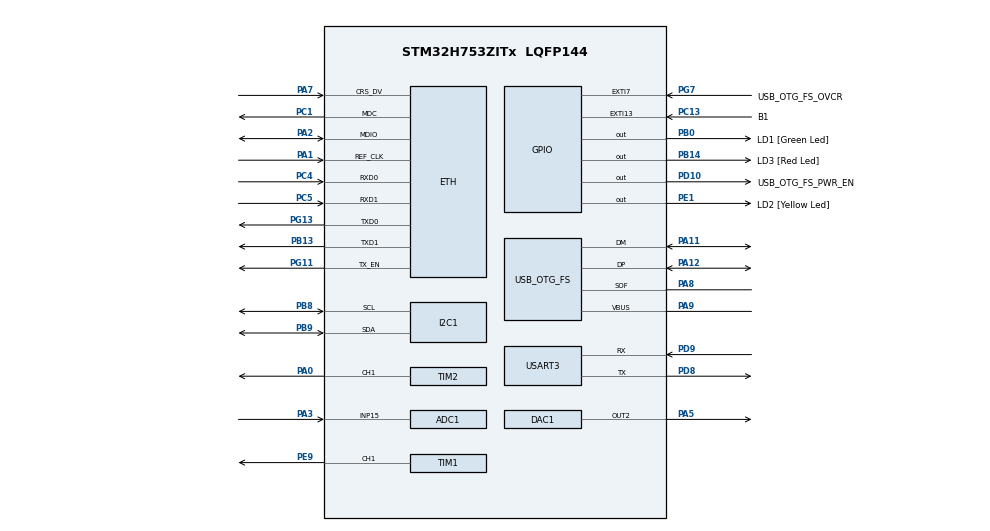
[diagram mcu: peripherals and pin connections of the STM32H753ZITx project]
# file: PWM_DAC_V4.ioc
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ADC1.Channel-0\#ChannelRegularConversion=ADC_CHANNEL_15
ADC1.ClockPrescaler=ADC_CLOCK_ASYNC_DIV128
ADC1.ContinuousConvMode=ENABLE
ADC1.NbrOfConversionFlag=1
ADC1.OffsetNumber-0\#ChannelRegularConversion=ADC_OFFSET_NONE
ADC1.OffsetSignedSaturation-0\#ChannelRegularConversion=DISABLE
ADC1.Rank-0\#ChannelRegularConversion=1
ADC1.Resolution=ADC_RESOLUTION_12B
ADC1.SamplingTime-0\#ChannelRegularConversion=ADC_SAMPLETIME_810CYCLES_5
ADC1.master=1
CORTEX_M7.CPU_DCache=Disabled
CORTEX_M7.CPU_ICache=Disabled
CORTEX_M7.MPU_Control=__NULL
DAC1.DAC_Channel-DAC_OUT2=DAC_CHANNEL_2
ETH.ETH_RX_DESC_CNT=4
ETH.ETH_TX_DESC_CNT=4
ETH.MACAddr=00\:80\:E1\:00\:00\:00
ETH.MediaInterface=HAL_ETH_RMII_MODE
ETH.RxBuffAddress=0x30040200
ETH.RxBuffLen=1524
ETH.RxDescAddress=0x30040000
ETH.TxDescAddress=0x30040060
I2C1.Timing=0x00303D5B
Mcu.Family=STM32H7
Mcu.Name=STM32H753ZITx
Mcu.Package=LQFP144
NVIC.ADC_IRQn=true\:0\:0\:false\:false\:true\:true\:true\:true
NVIC.EXTI15_10_IRQn=true\:0\:0\:false\:false\:true\:true\:true\:true
NVIC.PriorityGroup=NVIC_PRIORITYGROUP_4
NVIC.USART3_IRQn=true\:0\:0\:false\:false\:true\:true\:true\:true
PA0.Signal=S_TIM2_CH1_ETR
PA1.Mode=RMII
PA1.Signal=ETH_REF_CLK
PA11.Mode=Device_Only
PA11.Signal=USB_OTG_FS_DM
PA12.Mode=Device_Only
PA12.Signal=USB_OTG_FS_DP
PA2.Mode=RMII
PA2.Signal=ETH_MDIO
PA3.Signal=ADCx_INP15
PA5.Signal=COMP_DAC12_group
PA7.Mode=RMII
PA7.Signal=ETH_CRS_DV
PA8.Mode=Activate_SOF_FS
PA8.Signal=USB_OTG_FS_SOF
PA9.Mode=Activate_VBUS
PA9.Signal=USB_OTG_FS_VBUS
PB0.GPIO_Label=LD1 [Green Led]
PB0.Signal=GPIO_Output
PB13.Mode=RMII
PB13.Signal=ETH_TXD1
PB14.GPIO_Label=LD3 [Red Led]
PB14.Signal=GPIO_Output
PB8.GPIO_Pu=GPIO_PULLUP
PB8.GPIO_Speed=GPIO_SPEED_FREQ_VERY_HIGH
PB8.Mode=I2C
PB8.Signal=I2C1_SCL
PB9.GPIO_Pu=GPIO_PULLUP
PB9.GPIO_Speed=GPIO_SPEED_FREQ_VERY_HIGH
PB9.Mode=I2C
PB9.Signal=I2C1_SDA
PC1.Mode=RMII
PC1.Signal=ETH_MDC
PC13.GPIO_Label=B1
PC13.GPIO_ModeDefaultEXTI=GPIO_MODE_IT_FALLING
PC13.Signal=GPXTI13
PC14-OSC32_IN\ (OSC32_IN).Mode=LSE-External-Oscillator
PC14-OSC32_IN\ (OSC32_IN).Signal=RCC_OSC32_IN
PC15-OSC32_OUT\ (OSC32_OUT).Mode=LSE-External-Oscillator
PC15-OSC32_OUT\ (OSC32_OUT).Signal=RCC_OSC32_OUT
PC4.Mode=RMII
PC4.Signal=ETH_RXD0
PC5.Mode=RMII
PC5.Signal=ETH_RXD1
PD10.GPIO_Label=USB_OTG_FS_PWR_EN
PD10.Signal=GPIO_Output
PD8.Mode=Asynchronous
PD8.Signal=USART3_TX
PD9.Mode=Asynchronous
PD9.Signal=USART3_RX
PE1.GPIO_Label=LD2 [Yellow Led]
PE1.Signal=GPIO_Output
PE9.Signal=S_TIM1_CH1
PG11.Mode=RMII
PG11.Signal=ETH_TX_EN
PG13.Mode=RMII
PG13.Signal=ETH_TXD0
PG7.GPIO_Label=USB_OTG_FS_OVCR
PG7.Signal=GPXTI7
PH0-OSC_IN\ (PH0).Mode=HSE-External-Clock-Source
PH0-OSC_IN\ (PH0).Signal=RCC_OSC_IN
PH1-OSC_OUT\ (PH1).Signal=RCC_OSC_OUT
ProjectManager.HeapSize=0x200
ProjectManager.StackSize=0x400
ProjectManager.TargetToolchain=STM32CubeIDE
RCC.ADCFreq_Value=50000000
RCC.APB1Freq_Value=16000000
RCC.APB2Freq_Value=16000000
RCC.APB3Freq_Value=16000000
RCC.APB4Freq_Value=16000000
RCC.CortexFreq_Value=16000000
RCC.DIVM1=1
RCC.DIVM2=1
RCC.DIVN1=19
RCC.DIVN2=18
RCC.DIVP2=3
RCC.DIVQ1=3
RCC.HCLKFreq_Value=16000000
RCC.HSE_VALUE=8000000
RCC.HSIDiv=RCC_PLLSAIDIVR_4
RCC.PLL2FRACN=6144
RCC.PLLFRACN=0
RCC.PWR_Regulator_Voltage_Scale=PWR_REGULATOR_VOLTAGE_SCALE2
RCC.SYSCLKFreq_VALUE=16000000
RCC.USBFreq_Value=50666666.666666664
SH.ADCx_INP15.0=ADC1_INP15,IN15-Single-Ended
SH.COMP_DAC12_group.0=DAC1_OUT2,DAC_OUT2
SH.S_TIM1_CH1.0=TIM1_CH1,PWM Generation1 CH1
SH.S_TIM2_CH1_ETR.0=TIM2_CH1,PWM Generation1 CH1
TIM1.Channel-PWM\ Generation1\ CH1=TIM_CHANNEL_1
TIM1.Period=255
TIM2.Channel-PWM\ Generation1\ CH1=TIM_CHANNEL_1
TIM2.Period=255
USART3.VirtualMode-Asynchronous=VM_ASYNC
USB_OTG_FS.Sof_enable=ENABLE
USB_OTG_FS.VirtualMode=Device_Only
USB_OTG_FS.battery_charging_enable=ENABLE
USB_OTG_FS.low_power_enable=DISABLE
USB_OTG_FS.lpm_enable=DISABLE
USB_OTG_FS.use_dedicated_ep1=DISABLE
USB_OTG_FS.vbus_sensing_enable=ENABLE
VP_MEMORYMAP_VS_MEMORYMAP.Mode=CurAppReg
VP_TIM1_VS_ClockSourceINT.Mode=Internal
VP_TIM2_VS_ClockSourceINT.Mode=Internal
board=NUCLEO-H753ZI

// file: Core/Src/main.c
/* USER CODE BEGIN Header */
/**
  ******************************************************************************
  * @file           : main.c
  * @brief          : Main program body
  ******************************************************************************
  * @attention
  *
  * Copyright (c) 2024 STMicroelectronics.
  * All rights reserved.
  *
  * This software is licensed under terms that can be found in the LICENSE file
  * in the root directory of this software component.
  * If no LICENSE file comes with this software, it is provided AS-IS.
  *
  ******************************************************************************
  */
/* USER CODE END Header */
#include "main.h"
#include "string.h"

/* USER CODE BEGIN PD */
// PCF8591 I2C address (shifted for STM32 HAL)
#define PCF8591_ADDRESS 0x48 << 1
/* USER CODE END PD */

#if defined ( __ICCARM__ ) /*!< IAR Compiler */
#pragma location=0x30040000
ETH_DMADescTypeDef  DMARxDscrTab[ETH_RX_DESC_CNT]; /* Ethernet Rx DMA Descriptors */
#pragma location=0x30040060
ETH_DMADescTypeDef  DMATxDscrTab[ETH_TX_DESC_CNT]; /* Ethernet Tx DMA Descriptors */

#elif defined ( __CC_ARM )  /* MDK ARM Compiler */

__attribute__((at(0x30040000))) ETH_DMADescTypeDef  DMARxDscrTab[ETH_RX_DESC_CNT]; /* Ethernet Rx DMA Descriptors */
__attribute__((at(0x30040060))) ETH_DMADescTypeDef  DMATxDscrTab[ETH_TX_DESC_CNT]; /* Ethernet Tx DMA Descriptors */

#elif defined ( __GNUC__ ) /* GNU Compiler */

ETH_DMADescTypeDef DMARxDscrTab[ETH_RX_DESC_CNT] __attribute__((section(".RxDecripSection"))); /* Ethernet Rx DMA Descriptors */
ETH_DMADescTypeDef DMATxDscrTab[ETH_TX_DESC_CNT] __attribute__((section(".TxDecripSection")));   /* Ethernet Tx DMA Descriptors */
#endif

ETH_TxPacketConfig TxConfig;

ADC_HandleTypeDef hadc1;

DAC_HandleTypeDef hdac1;

ETH_HandleTypeDef heth;

I2C_HandleTypeDef hi2c1;

TIM_HandleTypeDef htim1;
TIM_HandleTypeDef htim2;

UART_HandleTypeDef huart3;

PCD_HandleTypeDef hpcd_USB_OTG_FS;

/* USER CODE BEGIN PV */
uint32_t value_adc;
uint32_t value_dac = 0;

volatile uint8_t conversion_complete = 0; //flag para sinalizar conversão completa do ADC

/* USER CODE END PV */

void SystemClock_Config(void);
static void MX_GPIO_Init(void);
static void MX_ETH_Init(void);
static void MX_I2C1_Init(void);
static void MX_USART3_UART_Init(void);
static void MX_USB_OTG_FS_PCD_Init(void);
static void MX_ADC1_Init(void);
static void MX_DAC1_Init(void);
static void MX_TIM2_Init(void);
static void MX_TIM1_Init(void);
/* USER CODE BEGIN PFP */

//Função de leitura no modulo sensor
uint8_t PCF8591_ReadAnalog(uint8_t channel);

/* USER CODE END PFP */

/* USER CODE BEGIN 0 */
int counter = 0;
char rx_buffer[9];
char execute_flag = '0';

uint8_t LDR = 0;
uint8_t POT = 0;
uint8_t TEMP = 0;
uint8_t dac_value = 0;
int currentExecution = 0;
/* USER CODE END 0 */

int main(void)
{

  /* MCU Configuration--------------------------------------------------------*/

  /* Reset of all peripherals, Initializes the Flash interface and the Systick. */
  HAL_Init();

  /* Configure the system clock */
  SystemClock_Config();

  /* Initialize all configured peripherals */
  MX_GPIO_Init();
  MX_ETH_Init();
  MX_I2C1_Init();
  MX_USART3_UART_Init();
  MX_USB_OTG_FS_PCD_Init();
  MX_ADC1_Init();
  MX_DAC1_Init();
  MX_TIM2_Init();
  MX_TIM1_Init();
  /* USER CODE BEGIN 2 */
    //Parametros ADC e DAC.
    //inicializa o DAC
    HAL_DAC_Start(&hdac1, DAC_CHANNEL_2);

   //parametros PWM/Timers
    HAL_UART_Receive_IT(&huart3, rx_buffer, sizeof(rx_buffer));

    HAL_TIM_PWM_Init(&htim1);
    //TIM1->CCR1 = 50;
    HAL_TIM_PWM_Start(&htim1, TIM_CHANNEL_1);   //pino PE9 - D6

    HAL_TIM_PWM_Init(&htim2);
      //TIM1->CCR1 = 50;
    HAL_TIM_PWM_Start(&htim2, TIM_CHANNEL_1); // pino PA0 - D32
  /* USER CODE END 2 */

  /* Infinite loop */
  while (1)
  {

    /* USER CODE BEGIN 3 */
	if (currentExecution == 0)
	{
		//escreve no sinal PWM o valor lido do potenciometro
		// um led deve ser conectado ao pino do timer 1 - pino D6/PE9
		// o brilho do led vai mudar em funcao do valor lido do potenciometro
		Read_Pot();	   HAL_Delay(10);
		__HAL_TIM_SET_COMPARE(&htim1, TIM_CHANNEL_1, POT);
		HAL_Delay(5);
	}

	if (currentExecution == 1)
	{
		Read_LDR();	   HAL_Delay(10);
		dac_value = (LDR);

		//Determinando a amplitude do DAC em funcao do valor do LDR normalizado.
		// DAC sera o PA5/D13
		HAL_DAC_SetValue(&hdac1, DAC_CHANNEL_2, DAC_ALIGN_8B_R, dac_value);
		HAL_Delay(1);

	}
	if (currentExecution == 2)
	{
		Read_Pot();	   HAL_Delay(10);
		__HAL_TIM_SET_COMPARE(&htim1, TIM_CHANNEL_1, POT);
		HAL_Delay(5);
		Read_LDR();	   HAL_Delay(10);
		dac_value = (LDR);

		//Determinando a amplitude do DAC em funcao do valor do LDR normalizado.
		// DAC sera o PA5/D13
		HAL_DAC_SetValue(&hdac1, DAC_CHANNEL_2, DAC_ALIGN_8B_R, dac_value);
		HAL_Delay(1);

	}
	else {
		// not implemented
	}

    }
  /* USER CODE END 3 */
}

/*
void ExecuteProgram()
{
	if(execute_flag == '1'){
		Read_LDR();
	}
	else if(execute_flag == '2'){
		Read_Temp();
	}
	else if(execute_flag == '3'){
		Read_Pot();
	}
	else if(execute_flag == '4'){
		Write_DAC();

	}

}
*/

void Read_LDR(){
	 // Read analog data from A0 (channel 0) of the PCF8591
		  LDR = PCF8591_ReadAnalog(0);
		  HAL_Delay(100); // Wait before next reading
		  char counterMessage[9];

		  snprintf(counterMessage, 8, "%s\r\n", " AIN0: ");
		  HAL_UART_Transmit_IT(&huart3, (uint8_t *)counterMessage, strlen(counterMessage));
		  HAL_Delay(100);

		  snprintf(counterMessage, 4, "%d\r\n", LDR);
		  HAL_UART_Transmit_IT(&huart3, (uint8_t *)counterMessage, strlen(counterMessage));
		  HAL_Delay(100);
		  execute_flag = '0';

}

void Read_Temp(){
	 // Read analog data from A1 (channel 1) of the PCF8591
		  TEMP = PCF8591_ReadAnalog(1);
		  HAL_Delay(100); // Wait before next reading
		  char counterMessage[9];

		  snprintf(counterMessage, 8, "%s\r\n", " AIN1: ");
		  HAL_UART_Transmit_IT(&huart3, (uint8_t *)counterMessage, strlen(counterMessage));
		  HAL_Delay(100);

		  snprintf(counterMessage, 4, "%d\r\n", TEMP);
  		  HAL_UART_Transmit_IT(&huart3, (uint8_t *)counterMessage, strlen(counterMessage));
  		  HAL_Delay(100);
  		  execute_flag = '0';

}

void Read_Pot(){
	      POT = PCF8591_ReadAnalog(3);		  // Process the analog_value or send it over UART/Display it
		  HAL_Delay(100); // Wait for 1 second before next reading
		  char counterMessage[9];

		  snprintf(counterMessage, 8, "%s\r\n", " AIN3: ");
		  HAL_UART_Transmit_IT(&huart3, (uint8_t *)counterMessage, strlen(counterMessage));
		  HAL_Delay(100);

		  snprintf(counterMessage, 4, "%d\r\n", POT);
   		  HAL_UART_Transmit_IT(&huart3, (uint8_t *)counterMessage, strlen(counterMessage));
     	  HAL_Delay(100);
   		  execute_flag = '0';
}

void SystemClock_Config(void)
{
  RCC_OscInitTypeDef RCC_OscInitStruct = {0};
  RCC_ClkInitTypeDef RCC_ClkInitStruct = {0};

  /** Supply configuration update enable
  */
  HAL_PWREx_ConfigSupply(PWR_LDO_SUPPLY);

  /** Configure the main internal regulator output voltage
  */
  __HAL_PWR_VOLTAGESCALING_CONFIG(PWR_REGULATOR_VOLTAGE_SCALE2);

  while(!__HAL_PWR_GET_FLAG(PWR_FLAG_VOSRDY)) {}

  /** Initializes the RCC Oscillators according to the specified parameters
  * in the RCC_OscInitTypeDef structure.
  */
  RCC_OscInitStruct.OscillatorType = RCC_OSCILLATORTYPE_HSI|RCC_OSCILLATORTYPE_HSE;
  RCC_OscInitStruct.HSEState = RCC_HSE_BYPASS;
  RCC_OscInitStruct.HSIState = RCC_HSI_DIV4;
  RCC_OscInitStruct.HSICalibrationValue = RCC_HSICALIBRATION_DEFAULT;
  RCC_OscInitStruct.PLL.PLLState = RCC_PLL_ON;
  RCC_OscInitStruct.PLL.PLLSource = RCC_PLLSOURCE_HSE;
  RCC_OscInitStruct.PLL.PLLM = 1;
  RCC_OscInitStruct.PLL.PLLN = 19;
  RCC_OscInitStruct.PLL.PLLP = 2;
  RCC_OscInitStruct.PLL.PLLQ = 3;
  RCC_OscInitStruct.PLL.PLLR = 2;
  RCC_OscInitStruct.PLL.PLLRGE = RCC_PLL1VCIRANGE_3;
  RCC_OscInitStruct.PLL.PLLVCOSEL = RCC_PLL1VCOMEDIUM;
  RCC_OscInitStruct.PLL.PLLFRACN = 0;
  if (HAL_RCC_OscConfig(&RCC_OscInitStruct) != HAL_OK)
  {
    Error_Handler();
  }

  /** Initializes the CPU, AHB and APB buses clocks
  */
  RCC_ClkInitStruct.ClockType = RCC_CLOCKTYPE_HCLK|RCC_CLOCKTYPE_SYSCLK
                              |RCC_CLOCKTYPE_PCLK1|RCC_CLOCKTYPE_PCLK2
                              |RCC_CLOCKTYPE_D3PCLK1|RCC_CLOCKTYPE_D1PCLK1;
  RCC_ClkInitStruct.SYSCLKSource = RCC_SYSCLKSOURCE_HSI;
  RCC_ClkInitStruct.SYSCLKDivider = RCC_SYSCLK_DIV1;
  RCC_ClkInitStruct.AHBCLKDivider = RCC_HCLK_DIV1;
  RCC_ClkInitStruct.APB3CLKDivider = RCC_APB3_DIV1;
  RCC_ClkInitStruct.APB1CLKDivider = RCC_APB1_DIV1;
  RCC_ClkInitStruct.APB2CLKDivider = RCC_APB2_DIV1;
  RCC_ClkInitStruct.APB4CLKDivider = RCC_APB4_DIV1;

  if (HAL_RCC_ClockConfig(&RCC_ClkInitStruct, FLASH_LATENCY_0) != HAL_OK)
  {
    Error_Handler();
  }
}

static void MX_ADC1_Init(void)
{

  ADC_MultiModeTypeDef multimode = {0};
  ADC_ChannelConfTypeDef sConfig = {0};

  /** Common config
  */
  hadc1.Instance = ADC1;
  hadc1.Init.ScanConvMode = ADC_SCAN_DISABLE;
  hadc1.Init.EOCSelection = ADC_EOC_SINGLE_CONV;
  hadc1.Init.LowPowerAutoWait = DISABLE;
  hadc1.Init.ContinuousConvMode = ENABLE;
  hadc1.Init.NbrOfConversion = 1;
  hadc1.Init.DiscontinuousConvMode = DISABLE;
  hadc1.Init.ExternalTrigConv = ADC_SOFTWARE_START;
  hadc1.Init.ExternalTrigConvEdge = ADC_EXTERNALTRIGCONVEDGE_NONE;
  hadc1.Init.ConversionDataManagement = ADC_CONVERSIONDATA_DR;
  hadc1.Init.Overrun = ADC_OVR_DATA_PRESERVED;
  hadc1.Init.LeftBitShift = ADC_LEFTBITSHIFT_NONE;
  hadc1.Init.OversamplingMode = DISABLE;
  hadc1.Init.Oversampling.Ratio = 1;
  if (HAL_ADC_Init(&hadc1) != HAL_OK)
  {
    Error_Handler();
  }
  hadc1.Init.ClockPrescaler = ADC_CLOCK_ASYNC_DIV128;
  hadc1.Init.Resolution = ADC_RESOLUTION_12B;
  if (HAL_ADC_Init(&hadc1) != HAL_OK)
  {
    Error_Handler();
  }

  /** Configure the ADC multi-mode
  */
  multimode.Mode = ADC_MODE_INDEPENDENT;
  if (HAL_ADCEx_MultiModeConfigChannel(&hadc1, &multimode) != HAL_OK)
  {
    Error_Handler();
  }

  /** Configure Regular Channel
  */
  sConfig.Channel = ADC_CHANNEL_15;
  sConfig.Rank = ADC_REGULAR_RANK_1;
  sConfig.SamplingTime = ADC_SAMPLETIME_810CYCLES_5;
  sConfig.SingleDiff = ADC_SINGLE_ENDED;
  sConfig.OffsetNumber = ADC_OFFSET_NONE;
  sConfig.Offset = 0;
  sConfig.OffsetSignedSaturation = DISABLE;
  if (HAL_ADC_ConfigChannel(&hadc1, &sConfig) != HAL_OK)
  {
    Error_Handler();
  }

}

static void MX_DAC1_Init(void)
{

  DAC_ChannelConfTypeDef sConfig = {0};

  /** DAC Initialization
  */
  hdac1.Instance = DAC1;
  if (HAL_DAC_Init(&hdac1) != HAL_OK)
  {
    Error_Handler();
  }

  /** DAC channel OUT2 config
  */
  sConfig.DAC_SampleAndHold = DAC_SAMPLEANDHOLD_DISABLE;
  sConfig.DAC_Trigger = DAC_TRIGGER_NONE;
  sConfig.DAC_OutputBuffer = DAC_OUTPUTBUFFER_ENABLE;
  sConfig.DAC_ConnectOnChipPeripheral = DAC_CHIPCONNECT_DISABLE;
  sConfig.DAC_UserTrimming = DAC_TRIMMING_FACTORY;
  if (HAL_DAC_ConfigChannel(&hdac1, &sConfig, DAC_CHANNEL_2) != HAL_OK)
  {
    Error_Handler();
  }

}

static void MX_ETH_Init(void)
{

   static uint8_t MACAddr[6];

  heth.Instance = ETH;
  MACAddr[0] = 0x00;
  MACAddr[1] = 0x80;
  MACAddr[2] = 0xE1;
  MACAddr[3] = 0x00;
  MACAddr[4] = 0x00;
  MACAddr[5] = 0x00;
  heth.Init.MACAddr = &MACAddr[0];
  heth.Init.MediaInterface = HAL_ETH_RMII_MODE;
  heth.Init.TxDesc = DMATxDscrTab;
  heth.Init.RxDesc = DMARxDscrTab;
  heth.Init.RxBuffLen = 1524;

  if (HAL_ETH_Init(&heth) != HAL_OK)
  {
    Error_Handler();
  }

  memset(&TxConfig, 0 , sizeof(ETH_TxPacketConfig));
  TxConfig.Attributes = ETH_TX_PACKETS_FEATURES_CSUM | ETH_TX_PACKETS_FEATURES_CRCPAD;
  TxConfig.ChecksumCtrl = ETH_CHECKSUM_IPHDR_PAYLOAD_INSERT_PHDR_CALC;
  TxConfig.CRCPadCtrl = ETH_CRC_PAD_INSERT;

}

static void MX_I2C1_Init(void)
{

  hi2c1.Instance = I2C1;
  hi2c1.Init.Timing = 0x00303D5B;
  hi2c1.Init.OwnAddress1 = 0;
  hi2c1.Init.AddressingMode = I2C_ADDRESSINGMODE_7BIT;
  hi2c1.Init.DualAddressMode = I2C_DUALADDRESS_DISABLE;
  hi2c1.Init.OwnAddress2 = 0;
  hi2c1.Init.OwnAddress2Masks = I2C_OA2_NOMASK;
  hi2c1.Init.GeneralCallMode = I2C_GENERALCALL_DISABLE;
  hi2c1.Init.NoStretchMode = I2C_NOSTRETCH_DISABLE;
  if (HAL_I2C_Init(&hi2c1) != HAL_OK)
  {
    Error_Handler();
  }

  /** Configure Analogue filter
  */
  if (HAL_I2CEx_ConfigAnalogFilter(&hi2c1, I2C_ANALOGFILTER_ENABLE) != HAL_OK)
  {
    Error_Handler();
  }

  /** Configure Digital filter
  */
  if (HAL_I2CEx_ConfigDigitalFilter(&hi2c1, 0) != HAL_OK)
  {
    Error_Handler();
  }

}

static void MX_TIM1_Init(void)
{

  TIM_ClockConfigTypeDef sClockSourceConfig = {0};
  TIM_MasterConfigTypeDef sMasterConfig = {0};
  TIM_OC_InitTypeDef sConfigOC = {0};
  TIM_BreakDeadTimeConfigTypeDef sBreakDeadTimeConfig = {0};

  htim1.Instance = TIM1;
  htim1.Init.Prescaler = 0;
  htim1.Init.CounterMode = TIM_COUNTERMODE_UP;
  htim1.Init.Period = 255;
  htim1.Init.ClockDivision = TIM_CLOCKDIVISION_DIV1;
  htim1.Init.RepetitionCounter = 0;
  htim1.Init.AutoReloadPreload = TIM_AUTORELOAD_PRELOAD_DISABLE;
  if (HAL_TIM_Base_Init(&htim1) != HAL_OK)
  {
    Error_Handler();
  }
  sClockSourceConfig.ClockSource = TIM_CLOCKSOURCE_INTERNAL;
  if (HAL_TIM_ConfigClockSource(&htim1, &sClockSourceConfig) != HAL_OK)
  {
    Error_Handler();
  }
  if (HAL_TIM_PWM_Init(&htim1) != HAL_OK)
  {
    Error_Handler();
  }
  sMasterConfig.MasterOutputTrigger = TIM_TRGO_RESET;
  sMasterConfig.MasterOutputTrigger2 = TIM_TRGO2_RESET;
  sMasterConfig.MasterSlaveMode = TIM_MASTERSLAVEMODE_DISABLE;
  if (HAL_TIMEx_MasterConfigSynchronization(&htim1, &sMasterConfig) != HAL_OK)
  {
    Error_Handler();
  }
  sConfigOC.OCMode = TIM_OCMODE_PWM1;
  sConfigOC.Pulse = 0;
  sConfigOC.OCPolarity = TIM_OCPOLARITY_HIGH;
  sConfigOC.OCNPolarity = TIM_OCNPOLARITY_HIGH;
  sConfigOC.OCFastMode = TIM_OCFAST_DISABLE;
  sConfigOC.OCIdleState = TIM_OCIDLESTATE_RESET;
  sConfigOC.OCNIdleState = TIM_OCNIDLESTATE_RESET;
  if (HAL_TIM_PWM_ConfigChannel(&htim1, &sConfigOC, TIM_CHANNEL_1) != HAL_OK)
  {
    Error_Handler();
  }
  sBreakDeadTimeConfig.OffStateRunMode = TIM_OSSR_DISABLE;
  sBreakDeadTimeConfig.OffStateIDLEMode = TIM_OSSI_DISABLE;
  sBreakDeadTimeConfig.LockLevel = TIM_LOCKLEVEL_OFF;
  sBreakDeadTimeConfig.DeadTime = 0;
  sBreakDeadTimeConfig.BreakState = TIM_BREAK_DISABLE;
  sBreakDeadTimeConfig.BreakPolarity = TIM_BREAKPOLARITY_HIGH;
  sBreakDeadTimeConfig.BreakFilter = 0;
  sBreakDeadTimeConfig.Break2State = TIM_BREAK2_DISABLE;
  sBreakDeadTimeConfig.Break2Polarity = TIM_BREAK2POLARITY_HIGH;
  sBreakDeadTimeConfig.Break2Filter = 0;
  sBreakDeadTimeConfig.AutomaticOutput = TIM_AUTOMATICOUTPUT_DISABLE;
  if (HAL_TIMEx_ConfigBreakDeadTime(&htim1, &sBreakDeadTimeConfig) != HAL_OK)
  {
    Error_Handler();
  }
  HAL_TIM_MspPostInit(&htim1);

}

static void MX_TIM2_Init(void)
{

  TIM_ClockConfigTypeDef sClockSourceConfig = {0};
  TIM_MasterConfigTypeDef sMasterConfig = {0};
  TIM_OC_InitTypeDef sConfigOC = {0};

  htim2.Instance = TIM2;
  htim2.Init.Prescaler = 0;
  htim2.Init.CounterMode = TIM_COUNTERMODE_UP;
  htim2.Init.Period = 255;
  htim2.Init.ClockDivision = TIM_CLOCKDIVISION_DIV1;
  htim2.Init.AutoReloadPreload = TIM_AUTORELOAD_PRELOAD_DISABLE;
  if (HAL_TIM_Base_Init(&htim2) != HAL_OK)
  {
    Error_Handler();
  }
  sClockSourceConfig.ClockSource = TIM_CLOCKSOURCE_INTERNAL;
  if (HAL_TIM_ConfigClockSource(&htim2, &sClockSourceConfig) != HAL_OK)
  {
    Error_Handler();
  }
  if (HAL_TIM_PWM_Init(&htim2) != HAL_OK)
  {
    Error_Handler();
  }
  sMasterConfig.MasterOutputTrigger = TIM_TRGO_RESET;
  sMasterConfig.MasterSlaveMode = TIM_MASTERSLAVEMODE_DISABLE;
  if (HAL_TIMEx_MasterConfigSynchronization(&htim2, &sMasterConfig) != HAL_OK)
  {
    Error_Handler();
  }
  sConfigOC.OCMode = TIM_OCMODE_PWM1;
  sConfigOC.Pulse = 0;
  sConfigOC.OCPolarity = TIM_OCPOLARITY_HIGH;
  sConfigOC.OCFastMode = TIM_OCFAST_DISABLE;
  if (HAL_TIM_PWM_ConfigChannel(&htim2, &sConfigOC, TIM_CHANNEL_1) != HAL_OK)
  {
    Error_Handler();
  }
  HAL_TIM_MspPostInit(&htim2);

}

static void MX_USART3_UART_Init(void)
{

  huart3.Instance = USART3;
  huart3.Init.BaudRate = 115200;
  huart3.Init.WordLength = UART_WORDLENGTH_8B;
  huart3.Init.StopBits = UART_STOPBITS_1;
  huart3.Init.Parity = UART_PARITY_NONE;
  huart3.Init.Mode = UART_MODE_TX_RX;
  huart3.Init.HwFlowCtl = UART_HWCONTROL_NONE;
  huart3.Init.OverSampling = UART_OVERSAMPLING_16;
  huart3.Init.OneBitSampling = UART_ONE_BIT_SAMPLE_DISABLE;
  huart3.Init.ClockPrescaler = UART_PRESCALER_DIV1;
  huart3.AdvancedInit.AdvFeatureInit = UART_ADVFEATURE_NO_INIT;
  if (HAL_UART_Init(&huart3) != HAL_OK)
  {
    Error_Handler();
  }
  if (HAL_UARTEx_SetTxFifoThreshold(&huart3, UART_TXFIFO_THRESHOLD_1_8) != HAL_OK)
  {
    Error_Handler();
  }
  if (HAL_UARTEx_SetRxFifoThreshold(&huart3, UART_RXFIFO_THRESHOLD_1_8) != HAL_OK)
  {
    Error_Handler();
  }
  if (HAL_UARTEx_DisableFifoMode(&huart3) != HAL_OK)
  {
    Error_Handler();
  }

}

static void MX_USB_OTG_FS_PCD_Init(void)
{

  hpcd_USB_OTG_FS.Instance = USB_OTG_FS;
  hpcd_USB_OTG_FS.Init.dev_endpoints = 9;
  hpcd_USB_OTG_FS.Init.speed = PCD_SPEED_FULL;
  hpcd_USB_OTG_FS.Init.dma_enable = DISABLE;
  hpcd_USB_OTG_FS.Init.phy_itface = PCD_PHY_EMBEDDED;
  hpcd_USB_OTG_FS.Init.Sof_enable = ENABLE;
  hpcd_USB_OTG_FS.Init.low_power_enable = DISABLE;
  hpcd_USB_OTG_FS.Init.lpm_enable = DISABLE;
  hpcd_USB_OTG_FS.Init.battery_charging_enable = ENABLE;
  hpcd_USB_OTG_FS.Init.vbus_sensing_enable = ENABLE;
  hpcd_USB_OTG_FS.Init.use_dedicated_ep1 = DISABLE;
  if (HAL_PCD_Init(&hpcd_USB_OTG_FS) != HAL_OK)
  {
    Error_Handler();
  }

}

static void MX_GPIO_Init(void)
{
  GPIO_InitTypeDef GPIO_InitStruct = {0};

  /* GPIO Ports Clock Enable */
  __HAL_RCC_GPIOC_CLK_ENABLE();
  __HAL_RCC_GPIOH_CLK_ENABLE();
  __HAL_RCC_GPIOA_CLK_ENABLE();
  __HAL_RCC_GPIOB_CLK_ENABLE();
  __HAL_RCC_GPIOE_CLK_ENABLE();
  __HAL_RCC_GPIOD_CLK_ENABLE();
  __HAL_RCC_GPIOG_CLK_ENABLE();

  /*Configure GPIO pin Output Level */
  HAL_GPIO_WritePin(GPIOB, LD1_Pin|LD3_Pin, GPIO_PIN_RESET);

  /*Configure GPIO pin Output Level */
  HAL_GPIO_WritePin(USB_OTG_FS_PWR_EN_GPIO_Port, USB_OTG_FS_PWR_EN_Pin, GPIO_PIN_RESET);

  /*Configure GPIO pin Output Level */
  HAL_GPIO_WritePin(LD2_GPIO_Port, LD2_Pin, GPIO_PIN_RESET);

  /*Configure GPIO pin : B1_Pin */
  GPIO_InitStruct.Pin = B1_Pin;
  GPIO_InitStruct.Mode = GPIO_MODE_IT_FALLING;
  GPIO_InitStruct.Pull = GPIO_NOPULL;
  HAL_GPIO_Init(B1_GPIO_Port, &GPIO_InitStruct);

  /*Configure GPIO pins : LD1_Pin LD3_Pin */
  GPIO_InitStruct.Pin = LD1_Pin|LD3_Pin;
  GPIO_InitStruct.Mode = GPIO_MODE_OUTPUT_PP;
  GPIO_InitStruct.Pull = GPIO_NOPULL;
  GPIO_InitStruct.Speed = GPIO_SPEED_FREQ_LOW;
  HAL_GPIO_Init(GPIOB, &GPIO_InitStruct);

  /*Configure GPIO pin : USB_OTG_FS_PWR_EN_Pin */
  GPIO_InitStruct.Pin = USB_OTG_FS_PWR_EN_Pin;
  GPIO_InitStruct.Mode = GPIO_MODE_OUTPUT_PP;
  GPIO_InitStruct.Pull = GPIO_NOPULL;
  GPIO_InitStruct.Speed = GPIO_SPEED_FREQ_LOW;
  HAL_GPIO_Init(USB_OTG_FS_PWR_EN_GPIO_Port, &GPIO_InitStruct);

  /*Configure GPIO pin : USB_OTG_FS_OVCR_Pin */
  GPIO_InitStruct.Pin = USB_OTG_FS_OVCR_Pin;
  GPIO_InitStruct.Mode = GPIO_MODE_IT_RISING;
  GPIO_InitStruct.Pull = GPIO_NOPULL;
  HAL_GPIO_Init(USB_OTG_FS_OVCR_GPIO_Port, &GPIO_InitStruct);

  /*Configure GPIO pin : LD2_Pin */
  GPIO_InitStruct.Pin = LD2_Pin;
  GPIO_InitStruct.Mode = GPIO_MODE_OUTPUT_PP;
  GPIO_InitStruct.Pull = GPIO_NOPULL;
  GPIO_InitStruct.Speed = GPIO_SPEED_FREQ_LOW;
  HAL_GPIO_Init(LD2_GPIO_Port, &GPIO_InitStruct);

  /* EXTI interrupt init*/
  HAL_NVIC_SetPriority(EXTI15_10_IRQn, 0, 0);
  HAL_NVIC_EnableIRQ(EXTI15_10_IRQn);

}

/* USER CODE BEGIN 4 */

//Rotina botão azul.

void HAL_GPIO_EXTI_Callback(uint16_t GPIO_Pin)
{
	if (GPIO_Pin == GPIO_PIN_13) {

		//HAL_GPIO_TogglePin(GPIOB, GPIO_PIN_0);

		currentExecution++;

		if (currentExecution == 3)
		{
			currentExecution = 0;
		}

	} else {
		__NOP();
	}
}

//rotina ADC

 void HAL_ADC_ConvCpltCallback(ADC_HandleTypeDef *hadc) {
	 if (hadc->Instance == ADC1) {
		 value_adc = HAL_ADC_GetValue(hadc);
		 conversion_complete = 1;

	 }
 }

//Função de leitura no modulo sensor
uint8_t PCF8591_ReadAnalog(uint8_t channel)
{
	uint8_t config_byte = 0x40 | (channel & 0x03); // Select the channel (A0, A1, A2, A3)
	uint8_t analog_data[2];

	// Send configuration byte to select the ADC channel
	HAL_I2C_Master_Transmit(&hi2c1, PCF8591_ADDRESS, &config_byte, 1, 1000);

	// Read two bytes: first byte is a dummy, second byte is the actual analog value
	HAL_I2C_Master_Receive(&hi2c1, PCF8591_ADDRESS, analog_data, 2, 1000);

	// Return the second byte which contains the valid ADC reading
	return analog_data[1];
}

void HAL_UART_RxCpltCallback(UART_HandleTypeDef *huart)
{

  if (strncmp(rx_buffer, "Read_AIN0", 9) == 0) {
	  execute_flag = '1';
  }
  if (strncmp(rx_buffer, "Read_AIN1", 9) == 0) {
	  execute_flag = '2';
  }
  if (strncmp(rx_buffer, "Read_AIN3", 9) == 0) {
	  execute_flag = '3';
  }
  if (strncmp(rx_buffer, "Set_DAC_255", 11) == 0) {
	  execute_flag = '4';
  }

}
/* USER CODE END 4 */

void Error_Handler(void)
{
  __disable_irq();
  while (1)
  {
  }
}
